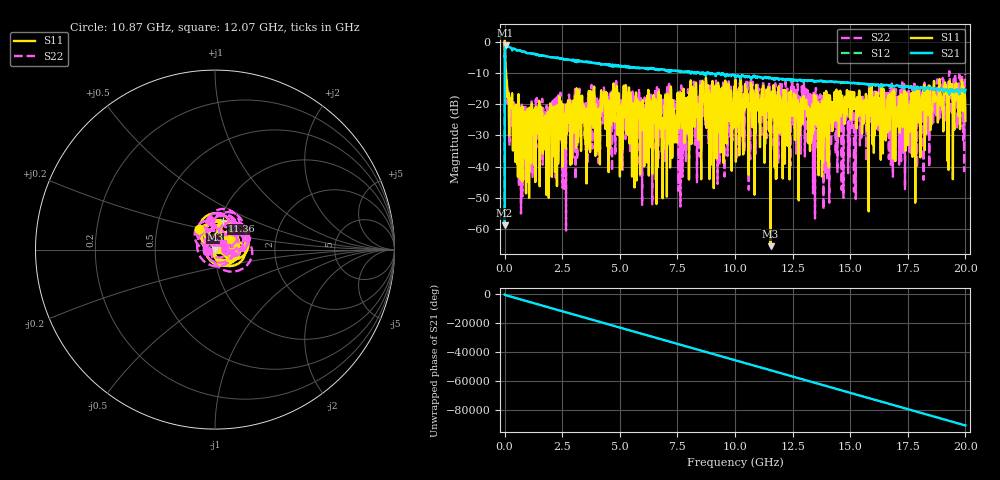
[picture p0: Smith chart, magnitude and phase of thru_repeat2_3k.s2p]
! MS46122B
! 2250307/22442219
! 8/5/2025 7:40:40 AM
! C:\USERS\SPARKY\DOCUMENTS\VNA_DATA\AUGUST5_2025\3K\THRU_REPEAT2.S2P
! CHANNEL.1
! TR.MEASUREMENT
! RAW.DATA
# GHZ S RI R 50.0
! FREQ.GHZ  S11RE  S11IM  S21RE  S21IM  S12RE  S12IM  S22RE  S22IM
!; PortSelection: Port_12
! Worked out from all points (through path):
!   10001 points, 1 MHz to 20 GHz, reference 50 ohm
!   highest |S21| = -1.16 dB at 45 MHz (marker M1); lowest = -58.7 dB at 1 MHz (marker M2)
!   lowest |S11| = -65.5 dB at 11.54 GHz (marker M3), VSWR 1.00, Z = 50.1 - j0.0109 ohm
!   |S11| at or under -10 dB: 43.36 MHz to 46.18 MHz (2.826 MHz wide, 6.31 % of centre); 65.56 MHz to end of sweep
!   |S22| runs from -60.5 to -0.1 dB; largest |S21 - S12| = 0.084
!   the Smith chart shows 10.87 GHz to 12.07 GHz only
!   S11 on the Smith chart (normalised r, x): 10.87 GHz: 0.82, +0.19; 11.36 GHz: 1.03, +0.34; 12.07 GHz: 1.02, -0.00
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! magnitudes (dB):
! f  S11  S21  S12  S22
! 1 MHz  0.4  -58.7  -59.0  -0.1
! 45 MHz  -10.3  -1.2  -1.5  -11.0
! 109 MHz  -14.9  -1.5  -1.6  -14.1
! 451 MHz  -25.4  -2.4  -2.4  -25.9
! 713 MHz  -21.6  -3.0  -3.0  -55.0
! 1.743 GHz  -26.2  -4.6  -4.6  -22.8
! 3.335 GHz  -27.1  -6.3  -6.3  -17.9
! 3.817 GHz  -16.8  -6.8  -6.7  -33.7
! 4.013 GHz  -24.1  -7.0  -7.0  -19.5
! 4.789 GHz  -19.3  -7.5  -7.6  -26.2
! 4.993 GHz  -25.6  -7.7  -7.8  -23.8
! 6.669 GHz  -23.3  -8.9  -9.0  -38.2
! 10 GHz  -14.5  -11.1  -11.1  -12.7
! 10.87 GHz  -16.9  -11.3  -11.3  -26.7
! 11.36 GHz  -15.6  -11.7  -11.6  -23.0
! 11.54 GHz  -65.5  -11.6  -11.6  -24.0
! 12.07 GHz  -41.4  -11.8  -11.9  -24.8
! 13.33 GHz  -26.1  -12.6  -12.5  -17.4
! 14.98 GHz  -22.1  -13.1  -13.1  -35.0
! 16.67 GHz  -17.9  -13.9  -14.0  -22.0
! 19.64 GHz  -13.7  -15.3  -15.2  -27.4
! 20 GHz  -25.3  -15.4  -16.0  -10.3
